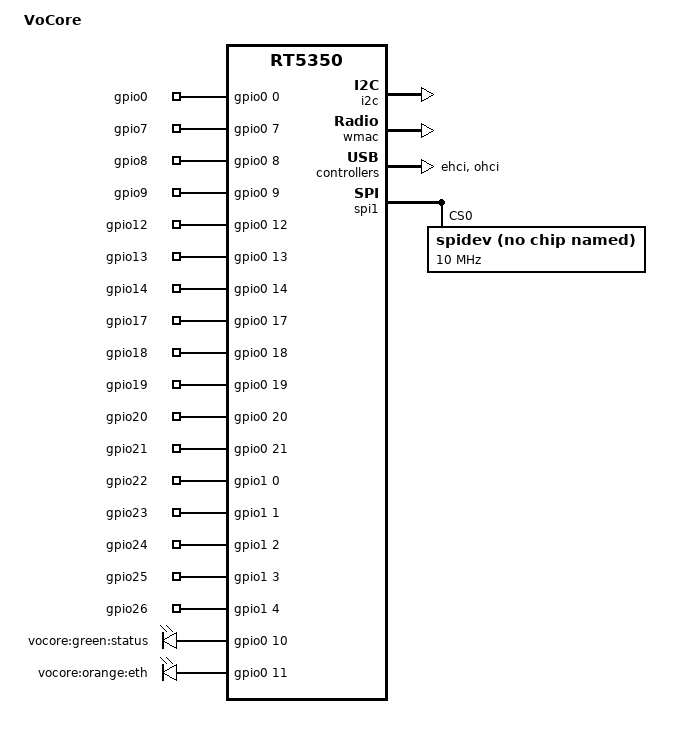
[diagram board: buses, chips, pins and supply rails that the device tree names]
#include "rt5350.dtsi"

/ {
	compatible = "VoCore", "ralink,rt5350-soc";
	model = "VoCore";

	gpio-export {
		compatible = "gpio-export";
		#size-cells = <0>;

		gpio0 {
			gpio-export,name = "gpio0";
			gpio-export,direction_may_change = <1>;
			gpios = <&gpio0 0 0>;
		};

		/* UARTF */
		gpio7 {
			/* UARTF_RTS_N */
			gpio-export,name = "gpio7";
			gpio-export,direction_may_change = <1>;
			gpios = <&gpio0 7 0>;
		};

		gpio8 {
			/* UARTF_TXD */
			gpio-export,name = "gpio8";
			gpio-export,direction_may_change = <1>;
			gpios = <&gpio0 8 0>;
		};

		gpio9 {
			/* UARTF_CTS_N */
			gpio-export,name = "gpio9";
			gpio-export,direction_may_change = <1>;
			gpios = <&gpio0 9 0>;
		};

		gpio12 {
			/* UARTF_DCD_N */
			gpio-export,name = "gpio12";
			gpio-export,direction_may_change = <1>;
			gpios = <&gpio0 12 0>;
		};

		gpio13 {
			/* UARTF_DSR_N */
			gpio-export,name = "gpio13";
			gpio-export,direction_may_change = <1>;
			gpios = <&gpio0 13 0>;
		};

		gpio14 {
			/* UARTF_RIN */
			gpio-export,name = "gpio14";
			gpio-export,direction_may_change = <1>;
			gpios = <&gpio0 14 0>;
		};

		/* JTAG */
		gpio17 {
			/* JTAG_TDO */
			gpio-export,name = "gpio17";
			gpio-export,direction_may_change = <1>;
			gpios = <&gpio0 17 0>;
		};

		gpio18 {
			/* JTAG_TDI */
			gpio-export,name = "gpio18";
			gpio-export,direction_may_change = <1>;
			gpios = <&gpio0 18 0>;
		};

		gpio19 {
			/* JTAG_TMS */
			gpio-export,name = "gpio19";
			gpio-export,direction_may_change = <1>;
			gpios = <&gpio0 19 0>;
		};

		gpio20 {
			/* JTAG_TCLK */
			gpio-export,name = "gpio20";
			gpio-export,direction_may_change = <1>;
			gpios = <&gpio0 20 0>;
		};

		gpio21 {
			/* JTAG_TRST_N */
			gpio-export,name = "gpio21";
			gpio-export,direction_may_change = <1>;
			gpios = <&gpio0 21 0>;
		};

		/* ETH LEDs */
		gpio22 {
			/* ETH0_LED */
			gpio-export,name = "gpio22";
			gpio-export,direction_may_change = <1>;
			gpios = <&gpio1 0 0>;
		};

		gpio23 {
			/* ETH1_LED */
			gpio-export,name = "gpio23";
			gpio-export,direction_may_change = <1>;
			gpios = <&gpio1 1 0>;
		};

		gpio24 {
			/* ETH2_LED */
			gpio-export,name = "gpio24";
			gpio-export,direction_may_change = <1>;
			gpios = <&gpio1 2 0>;
		};

		gpio25 {
			/* ETH3_LED */
			gpio-export,name = "gpio25";
			gpio-export,direction_may_change = <1>;
			gpios = <&gpio1 3 0>;
		};

		gpio26 {
			/* ETH4_LED */
			gpio-export,name = "gpio26";
			gpio-export,direction_may_change = <1>;
			gpios = <&gpio1 4 0>;
		};
	};

	gpio-leds {
		compatible = "gpio-leds";

		status {
			/* UARTF_RXD */
			label = "vocore:green:status";
			gpios = <&gpio0 10 0>;
		};

		eth {
			/* UARTF_DTR_N */
			label = "vocore:orange:eth";
			gpios = <&gpio0 11 0>;
		};
	};
};

&gpio1 {
	status = "okay";
};

&i2c {
	status = "okay";
};

&pinctrl {
	state_default: pinctrl0 {
		gpio {
			ralink,group = "jtag", "uartf", "led";
			ralink,function = "gpio";
		};
	};
};

&ethernet {
	mtd-mac-address = <&factory 0x4>;
};

&esw {
	mediatek,portmap = <0x11>;
	mediatek,portdisable = <0x2e>;
};

&wmac {
	ralink,mtd-eeprom = <&factory 0>;
};

&ehci {
	status = "okay";
};

&ohci {
	status = "okay";
};

&spi1 {
	status = "okay";

	spidev@0 {
		compatible = "linux,spidev";
		spi-max-frequency = <10000000>;
		reg = <0>;
	};
};
